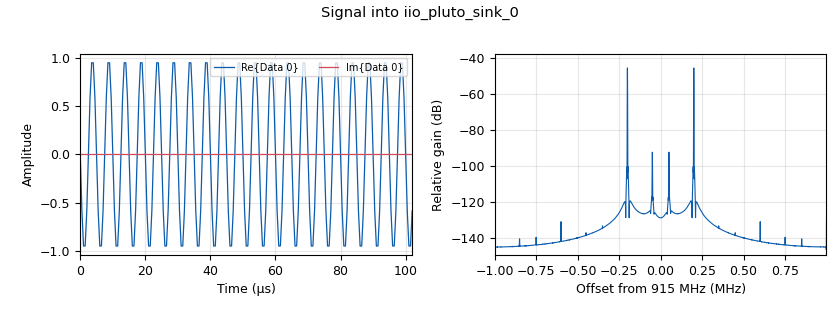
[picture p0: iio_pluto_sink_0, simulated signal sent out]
options:
  parameters:
    author: Matias Gandino
    generate_options: qt_gui
    id: FSK_simulacion
    output_language: python
    title: FSK_simulacion
  states: {}

blocks:
- name: frecuencia_0
  id: variable
  parameters:
    value: '50000'
  states: {}
- name: frecuencia_1
  id: variable
  parameters:
    value: '200000'
  states: {}
- name: samp_rate
  id: variable
  parameters:
    value: '2000000'
  states: {}
- name: analog_const_source_x_0
  id: analog_const_source_x
  parameters:
    const: '-1'
    type: float
  states: {}
- name: analog_sig_source_x_0
  id: analog_sig_source_x
  parameters:
    amp: '1'
    freq: frecuencia_1
    offset: '0'
    phase: '0'
    samp_rate: samp_rate
    type: float
    waveform: analog.GR_SIN_WAVE
  states: {}
- name: analog_sig_source_x_0_0
  id: analog_sig_source_x
  parameters:
    amp: '1'
    freq: frecuencia_0
    offset: '0'
    phase: '0'
    samp_rate: samp_rate
    type: float
    waveform: analog.GR_SIN_WAVE
  states: {}
- name: blocks_add_const_vxx_0
  id: blocks_add_const_vxx
  parameters:
    const: '-1'
    type: float
  states: {}
- name: blocks_add_xx_0
  id: blocks_add_xx
  parameters:
    type: float
  states: {}
- name: blocks_float_to_complex_0
  id: blocks_float_to_complex
  parameters: {}
  states: {}
- name: blocks_multiply_const_vxx_0
  id: blocks_multiply_const_vxx
  parameters:
    const: '1'
    type: float
  states: {}
- name: blocks_multiply_xx_0
  id: blocks_multiply_xx
  parameters:
    type: float
  states: {}
- name: blocks_multiply_xx_0_0
  id: blocks_multiply_xx
  parameters:
    type: float
  states: {}
- name: blocks_multiply_xx_0_0_0
  id: blocks_multiply_xx
  parameters:
    type: float
  states: {}
- name: blocks_repeat_0
  id: blocks_repeat
  parameters:
    interp: '5000'
    type: float
  states: {}
- name: blocks_vector_source_x_0
  id: blocks_vector_source_x
  parameters:
    repeat: 'True'
    tags: ''
    type: float
    vector: (0, 0, 1, 1, 1, 1, 0, 0, 0, 0, 1, 1)
  states: {}
- name: iio_pluto_sink_0
  id: iio_pluto_sink
  parameters:
    attenuation1: '10.0'
    bandwidth: '1000000'
    buffer_size: '32768'
    cyclic: 'False'
    filter_source: '''Auto'''
    frequency: '915000000'
    samplerate: samp_rate
    type: fc32
    uri: ip:192.168.2.1
  states: {}
- name: note_0
  id: note
  parameters:
    note: '1'
  states: {}
- name: note_0_0
  id: note
  parameters:
    note: '0'
  states: {}

connections:
- [analog_const_source_x_0, '0', blocks_multiply_xx_0_0, '1']
- [analog_sig_source_x_0, '0', blocks_multiply_xx_0, '0']
- [analog_sig_source_x_0_0, '0', blocks_multiply_xx_0_0_0, '1']
- [blocks_add_const_vxx_0, '0', blocks_multiply_xx_0_0, '0']
- [blocks_add_xx_0, '0', blocks_multiply_const_vxx_0, '0']
- [blocks_float_to_complex_0, '0', iio_pluto_sink_0, '0']
- [blocks_multiply_const_vxx_0, '0', blocks_float_to_complex_0, '0']
- [blocks_multiply_xx_0, '0', blocks_add_xx_0, '0']
- [blocks_multiply_xx_0_0, '0', blocks_multiply_xx_0_0_0, '0']
- [blocks_multiply_xx_0_0_0, '0', blocks_add_xx_0, '1']
- [blocks_repeat_0, '0', blocks_add_const_vxx_0, '0']
- [blocks_repeat_0, '0', blocks_multiply_xx_0, '1']
- [blocks_vector_source_x_0, '0', blocks_repeat_0, '0']

metadata:
  file_format: 1
  grc_version: 3.10.12.0
